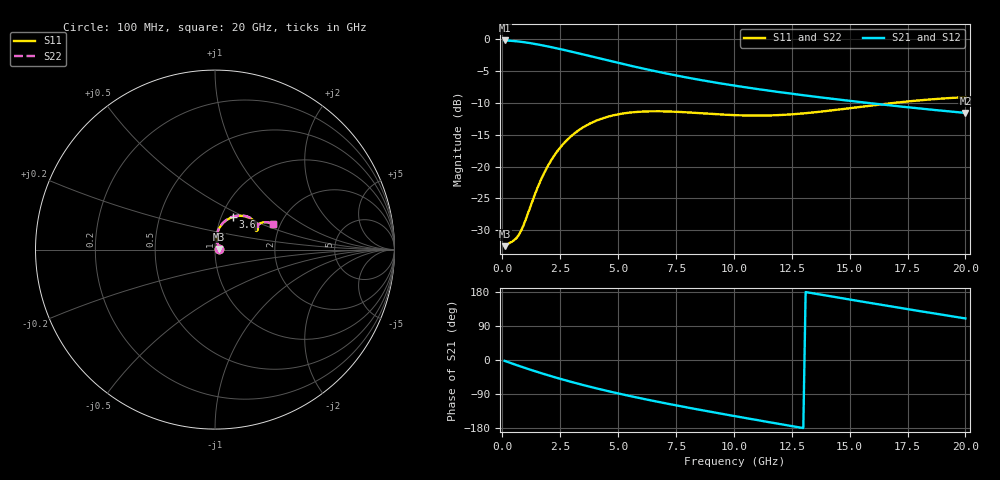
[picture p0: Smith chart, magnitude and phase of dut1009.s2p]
! Touchstone file exported from HFSS 2024.1.0
!  File:  C:/UserFiles/LocalFiles/RDL_TSV_Batchsim/temp_RDL_TSV_1009_1780078310.aedt
!  Generated:  02:28:13 AM May 30, 2026
!  Design:  RDL_TSV
!  Project:  temp_RDL_TSV_1009_1780078310
!  Setup:  Setup1
!  Solution:  Sweep
! Variables:
!  dtsv = 12.6um
!  hbump = 3um
!  htsv = 77.99um
!  ldown = 647.47um
!  lrdl = 400.24um
!  p = 40
!  p1 = 47.06um
!  rhole = 10um
!  subl = 3543.37um
!  t = 450um
!  tdown = 4.79um
!  trdl = 2.48um
!  viad = 10um
!  wdown = 11.03um
!  wrdl = 21.68um
!  xbump = 18um
# GHz S MA R 50.000000
! Terminal data exported
! Port[1] = TM1_1_T1
! Port[2] = TM1_4_T1
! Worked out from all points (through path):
!   200 points, 100 MHz to 20 GHz, reference 50 ohm
!   highest |S21| = -0.21 dB at 100 MHz (marker M1); lowest = -11.6 dB at 20 GHz (marker M2)
!   group delay of S21, straight-line fit = 32.8 ps
!   lowest |S11| = -32.5 dB at 100 MHz (marker M3), VSWR 1.05, Z = 52.4 + j0.338 ohm
!   |S11| at or under -10 dB: start of sweep to 16.94 GHz
!   |S22| runs from -32.5 to -9.1 dB; largest |S21 - S12| = 8e-14
!   S11 on the Smith chart (normalised r, x): 100 MHz: 1.05, +0.01; 3.6 GHz: 1.14, +0.43; 20 GHz: 1.83, +0.58
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0.1  0.02371 7.8  0.976 -2.2  0.976 -2.2  0.02371 7.8
! Gamma 0 0 0 0
! Port Impedance 50 0 50 0
0.6  0.02731 41.4  0.9619 -13.1  0.9619 -13.1  0.02728 41.5
0.8  0.03099 56.0  0.9529 -17.3  0.9529 -17.3  0.03097 56.3
1.3  0.05358 78.8  0.9239 -27.4  0.9239 -27.4  0.05375 79.1
1.8  0.0883 82.1  0.8889 -37.0  0.8889 -37.0  0.08874 82.4
2.2  0.1185 79.1  0.8586 -44.3  0.8586 -44.3  0.1192 79.4
2.6  0.1479 74.4  0.8275 -51.4  0.8275 -51.4  0.1488 74.6
3  0.1747 69.0  0.7962 -58.1  0.7962 -58.1  0.1759 69.3
3.5  0.2036 62.3  0.7577 -66.2  0.7577 -66.2  0.205 62.5
3.6  0.2087 60.9  0.7501 -67.7  0.7501 -67.7  0.2102 61.2
4.3  0.2378 52.3  0.6988 -78.3  0.6988 -78.3  0.2397 52.6
5.2  0.2605 42.9  0.6388 -90.9  0.6388 -90.9  0.2628 43.2
6  0.2695 36.3  0.5917 -101.4  0.5917 -101.4  0.2722 36.5
6.8  0.2713 31.2  0.5505 -111.3  0.5505 -111.3  0.2743 31.4
8.4  0.2633 25.3  0.4834 -130.0  0.4834 -130.0  0.2666 25.4
10.1  0.2528 24.3  0.4295 -148.8  0.4295 -148.8  0.2563 24.3
11.7  0.2523 26.5  0.3897 -165.9  0.3897 -165.9  0.2555 26.3
13.4  0.2654 29.2  0.3552 176.2  0.3552 176.2  0.2683 29.0
15.1  0.2885 30.2  0.3262 158.6  0.3262 158.6  0.2909 29.9
16.7  0.3127 29.2  0.3026 142.3  0.3026 142.3  0.3147 29.0
18.3  0.3341 26.9  0.2821 126.3  0.2821 126.3  0.3358 26.7
20  0.3504 23.6  0.2635 109.6  0.2635 109.6  0.3518 23.4
